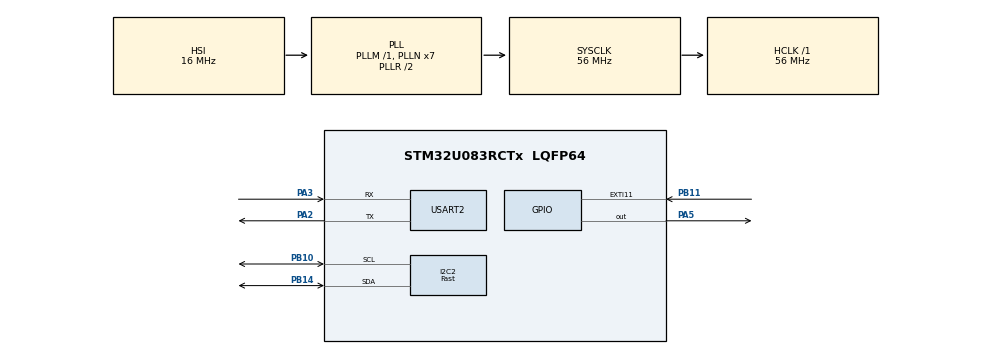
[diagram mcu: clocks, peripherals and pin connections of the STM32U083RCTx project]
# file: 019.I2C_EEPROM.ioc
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I2C2.I2C_Speed_Mode=I2C_Fast
I2C2.Timing=0x00501D63
Mcu.Family=STM32U0
Mcu.Name=STM32U083RCTx
Mcu.Package=LQFP64
NVIC.PriorityGroup=NVIC_PRIORITYGROUP_2
PA2.Mode=Asynchronous
PA2.Signal=USART2_TX
PA3.Mode=Asynchronous
PA3.Signal=USART2_RX
PA5.Signal=GPIO_Output
PB10.Mode=I2C
PB10.Signal=I2C2_SCL
PB11.Signal=GPXTI11
PB14.Mode=I2C
PB14.Signal=I2C2_SDA
ProjectManager.HeapSize=0x200
ProjectManager.StackSize=0x400
ProjectManager.TargetToolchain=STM32CubeIDE
RCC.ADCFreq_Value=56000000
RCC.AHBFreq_Value=56000000
RCC.CortexFreq_Value=56000000
RCC.HCLKFreq_Value=56000000
RCC.HSE_VALUE=4000000
RCC.HSI48_VALUE=48000000
RCC.HSI_VALUE=16000000
RCC.LSE_VALUE=32768
RCC.MSI_VALUE=4000000
RCC.PLLN=7
RCC.SYSCLKFreq_VALUE=56000000
RCC.SYSCLKSource=RCC_SYSCLKSOURCE_PLLCLK
RCC.VCOOutputFreq_Value=112000000
USART2.VirtualMode-Asynchronous=VM_ASYNC
VP_PWR_VS_SECSignals.Mode=Security/Privilege
board=custom

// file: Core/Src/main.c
/* USER CODE BEGIN Header */
/**
  ******************************************************************************
  * @file           : main.c
  * @brief          : Main program body
  ******************************************************************************
  * @attention
  *
  * Copyright (c) 2025 STMicroelectronics.
  * All rights reserved.
  *
  * This software is licensed under terms that can be found in the LICENSE file
  * in the root directory of this software component.
  * If no LICENSE file comes with this software, it is provided AS-IS.
  *
  ******************************************************************************
  */
/* USER CODE END Header */
#include "main.h"

/* USER CODE BEGIN Includes */
#include <stdio.h>
#include <string.h>
#include "at24c/at24c.h"
/* USER CODE END Includes */

I2C_HandleTypeDef hi2c2;

UART_HandleTypeDef huart2;

void SystemClock_Config(void);
static void MX_GPIO_Init(void);
static void MX_I2C2_Init(void);
static void MX_USART2_UART_Init(void);

/* USER CODE BEGIN 0 */
#ifdef __GNUC__
#define PUTCHAR_PROTOTYPE int __io_putchar(int ch)
#else
#define PUTCHAR_PROTOTYPE int fputc(int ch, FILE *f)
#endif

PUTCHAR_PROTOTYPE
{
	if(ch == '\n')
	{
		HAL_UART_Transmit(&huart2, (uint8_t*)"\r", 1, 0xFFFF);
	}
	HAL_UART_Transmit(&huart2, (uint8_t*)&ch, 1, 0xFFFF);
	return ch;
}
/* USER CODE END 0 */

int main(void)
{

  /* USER CODE BEGIN 1 */
	uint8_t i, eeprom[32];
  /* USER CODE END 1 */

  /* MCU Configuration--------------------------------------------------------*/

  /* Reset of all peripherals, Initializes the Flash interface and the Systick. */
  HAL_Init();

  /* Configure the system clock */
  SystemClock_Config();

  /* Initialize all configured peripherals */
  MX_GPIO_Init();
  MX_I2C2_Init();
  MX_USART2_UART_Init();
  /* USER CODE BEGIN 2 */
  printf("\nNucleo_F401RE HDC1080 Program\n");
  printf("SysCLK\t\tFrequency = %ld\n", HAL_RCC_GetSysClockFreq());
  printf("HCLK\t\tFrequncy = %ld\n", HAL_RCC_GetHCLKFreq());
  printf("PCLK\t\tFrequency = %ld\n", HAL_RCC_GetPCLK1Freq());

  /* USER CODE END 2 */

  /* Infinite loop */
  /* USER CODE BEGIN WHILE */
  if(AT24C_Read(&hi2c2, 0, eeprom, sizeof(eeprom)) != HAL_OK)
  {
	  printf("AT24C_Read error\n");
  }

  for(i = 0; i < sizeof(eeprom); i++)
  {
	  printf("%02X ", eeprom[i]);
  }
  printf("\n");

  uint8_t val = eeprom[0] + 1;

  memset(eeprom, val, sizeof(eeprom));

  if(AT24C_Write(&hi2c2, 0, eeprom, sizeof(eeprom)) != HAL_OK)
  {
	  printf("AT24C_Write error\n");
  }

  while (1)
  {
    /* USER CODE END WHILE */

  }
}

void SystemClock_Config(void)
{
  RCC_OscInitTypeDef RCC_OscInitStruct = {0};
  RCC_ClkInitTypeDef RCC_ClkInitStruct = {0};

  /** Configure the main internal regulator output voltage
  */
  HAL_PWREx_ControlVoltageScaling(PWR_REGULATOR_VOLTAGE_SCALE1);

  /** Initializes the RCC Oscillators according to the specified parameters
  * in the RCC_OscInitTypeDef structure.
  */
  RCC_OscInitStruct.OscillatorType = RCC_OSCILLATORTYPE_HSI;
  RCC_OscInitStruct.HSIState = RCC_HSI_ON;
  RCC_OscInitStruct.HSICalibrationValue = RCC_HSICALIBRATION_DEFAULT;
  RCC_OscInitStruct.PLL.PLLState = RCC_PLL_ON;
  RCC_OscInitStruct.PLL.PLLSource = RCC_PLLSOURCE_HSI;
  RCC_OscInitStruct.PLL.PLLM = RCC_PLLM_DIV1;
  RCC_OscInitStruct.PLL.PLLN = 7;
  RCC_OscInitStruct.PLL.PLLP = RCC_PLLP_DIV2;
  RCC_OscInitStruct.PLL.PLLQ = RCC_PLLQ_DIV2;
  RCC_OscInitStruct.PLL.PLLR = RCC_PLLR_DIV2;
  if (HAL_RCC_OscConfig(&RCC_OscInitStruct) != HAL_OK)
  {
    Error_Handler();
  }

  /** Initializes the CPU, AHB and APB buses clocks
  */
  RCC_ClkInitStruct.ClockType = RCC_CLOCKTYPE_HCLK|RCC_CLOCKTYPE_SYSCLK
                              |RCC_CLOCKTYPE_PCLK1;
  RCC_ClkInitStruct.SYSCLKSource = RCC_SYSCLKSOURCE_PLLCLK;
  RCC_ClkInitStruct.AHBCLKDivider = RCC_SYSCLK_DIV1;
  RCC_ClkInitStruct.APB1CLKDivider = RCC_HCLK_DIV1;

  if (HAL_RCC_ClockConfig(&RCC_ClkInitStruct, FLASH_LATENCY_2) != HAL_OK)
  {
    Error_Handler();
  }
}

static void MX_I2C2_Init(void)
{

  hi2c2.Instance = I2C2;
  hi2c2.Init.Timing = 0x00501D63;
  hi2c2.Init.OwnAddress1 = 0;
  hi2c2.Init.AddressingMode = I2C_ADDRESSINGMODE_7BIT;
  hi2c2.Init.DualAddressMode = I2C_DUALADDRESS_DISABLE;
  hi2c2.Init.OwnAddress2 = 0;
  hi2c2.Init.OwnAddress2Masks = I2C_OA2_NOMASK;
  hi2c2.Init.GeneralCallMode = I2C_GENERALCALL_DISABLE;
  hi2c2.Init.NoStretchMode = I2C_NOSTRETCH_DISABLE;
  if (HAL_I2C_Init(&hi2c2) != HAL_OK)
  {
    Error_Handler();
  }

  /** Configure Analogue filter
  */
  if (HAL_I2CEx_ConfigAnalogFilter(&hi2c2, I2C_ANALOGFILTER_ENABLE) != HAL_OK)
  {
    Error_Handler();
  }

  /** Configure Digital filter
  */
  if (HAL_I2CEx_ConfigDigitalFilter(&hi2c2, 0) != HAL_OK)
  {
    Error_Handler();
  }

}

static void MX_USART2_UART_Init(void)
{

  huart2.Instance = USART2;
  huart2.Init.BaudRate = 115200;
  huart2.Init.WordLength = UART_WORDLENGTH_8B;
  huart2.Init.StopBits = UART_STOPBITS_1;
  huart2.Init.Parity = UART_PARITY_NONE;
  huart2.Init.Mode = UART_MODE_TX_RX;
  huart2.Init.HwFlowCtl = UART_HWCONTROL_NONE;
  huart2.Init.OverSampling = UART_OVERSAMPLING_16;
  huart2.Init.OneBitSampling = UART_ONE_BIT_SAMPLE_DISABLE;
  huart2.Init.ClockPrescaler = UART_PRESCALER_DIV1;
  huart2.AdvancedInit.AdvFeatureInit = UART_ADVFEATURE_NO_INIT;
  if (HAL_UART_Init(&huart2) != HAL_OK)
  {
    Error_Handler();
  }
  if (HAL_UARTEx_SetTxFifoThreshold(&huart2, UART_TXFIFO_THRESHOLD_1_8) != HAL_OK)
  {
    Error_Handler();
  }
  if (HAL_UARTEx_SetRxFifoThreshold(&huart2, UART_RXFIFO_THRESHOLD_1_8) != HAL_OK)
  {
    Error_Handler();
  }
  if (HAL_UARTEx_DisableFifoMode(&huart2) != HAL_OK)
  {
    Error_Handler();
  }

}

static void MX_GPIO_Init(void)
{
  GPIO_InitTypeDef GPIO_InitStruct = {0};

  /* GPIO Ports Clock Enable */
  __HAL_RCC_GPIOA_CLK_ENABLE();
  __HAL_RCC_GPIOB_CLK_ENABLE();

  /*Configure GPIO pin Output Level */
  HAL_GPIO_WritePin(GPIOA, GPIO_PIN_5, GPIO_PIN_RESET);

  /*Configure GPIO pin : PA5 */
  GPIO_InitStruct.Pin = GPIO_PIN_5;
  GPIO_InitStruct.Mode = GPIO_MODE_OUTPUT_PP;
  GPIO_InitStruct.Pull = GPIO_NOPULL;
  GPIO_InitStruct.Speed = GPIO_SPEED_FREQ_LOW;
  HAL_GPIO_Init(GPIOA, &GPIO_InitStruct);

  /*Configure GPIO pin : PB11 */
  GPIO_InitStruct.Pin = GPIO_PIN_11;
  GPIO_InitStruct.Mode = GPIO_MODE_IT_RISING;
  GPIO_InitStruct.Pull = GPIO_NOPULL;
  HAL_GPIO_Init(GPIOB, &GPIO_InitStruct);

}

void Error_Handler(void)
{
  __disable_irq();
  while (1)
  {
  }
}
